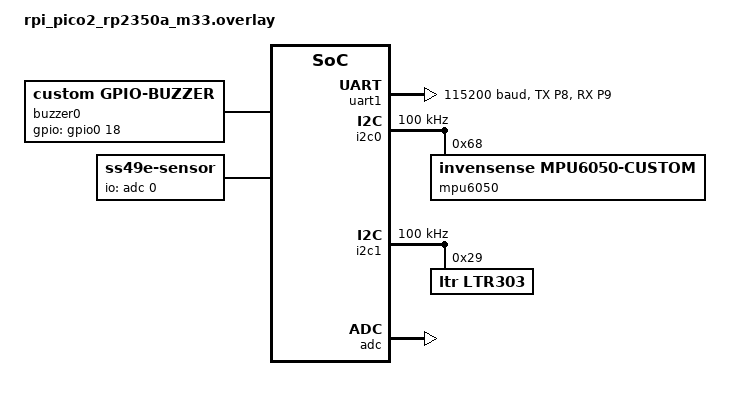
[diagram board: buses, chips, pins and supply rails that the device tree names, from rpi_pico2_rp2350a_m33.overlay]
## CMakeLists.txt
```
cmake_minimum_required(VERSION 3.20.0)

set(DTS_ROOT ${CMAKE_CURRENT_SOURCE_DIR}/..)

find_package(Zephyr REQUIRED HINTS $ENV{ZEPHYR_BASE})
project(sensor_node)

target_sources(app PRIVATE
    src/main.c
    ../drivers/sensor/ss49e/ss49e.c
    ../drivers/sensor/buzzer/buzzer.c
)

add_subdirectory(../drivers/sensor/mpu6050 mpu6050_driver)
add_subdirectory(../drivers/sensor/ltr303 ltr303_driver)

target_include_directories(app PRIVATE ${CMAKE_CURRENT_SOURCE_DIR}/../common)
```

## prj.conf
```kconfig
CONFIG_SERIAL=y
CONFIG_UART_INTERRUPT_DRIVEN=y

# Console via USB (printk output visible over USB serial)
CONFIG_USB_DEVICE_STACK=y
CONFIG_CONSOLE=y
CONFIG_UART_CONSOLE=y

#i2c
CONFIG_I2C=y

CONFIG_SENSOR=y

CONFIG_ADC=y
CONFIG_SENSOR=y

# Logging
CONFIG_LOG=y
CONFIG_LOG_DEFAULT_LEVEL=3

# Reboot support (used for CMD_RESET)
CONFIG_REBOOT=y

# Stack/heap tuning for RP2350
CONFIG_MAIN_STACK_SIZE=2048
CONFIG_HEAP_MEM_POOL_SIZE=2048

# GPIO status peripherals
CONFIG_GPIO=y
CONFIG_LED_STRIP=y
```

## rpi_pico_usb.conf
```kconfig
# USB CDC ACM console for the original RP2040 Pico / rpi_pico board.
CONFIG_USB_DEVICE_STACK=y
CONFIG_USB_CDC_ACM=y
CONFIG_UART_LINE_CTRL=y

CONFIG_SERIAL=y
CONFIG_CONSOLE=y
CONFIG_UART_CONSOLE=y
CONFIG_PRINTK=y
```

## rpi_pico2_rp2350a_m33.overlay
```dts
#include <zephyr/dt-bindings/led/led.h>
#include <zephyr/dt-bindings/pinctrl/rpi-pico-rp2350a-pinctrl.h>
#include <zephyr/dt-bindings/i2c/i2c.h>

&pinctrl {
    uart1_default: uart1_default {
        group1 {
            pinmux = <UART1_TX_P8>;
        };

        group2 {
            pinmux = <UART1_RX_P9>;
            input-enable;
        };
    };

    i2c0_default: i2c0_default {
        group1 {
            pinmux = <I2C0_SDA_P4>, <I2C0_SCL_P5>;
            input-enable;
            input-schmitt-enable;
        };
    };

   i2c1_default: i2c1_default {
        group1 {
            pinmux = <I2C1_SDA_P2>, <I2C1_SCL_P3>;
            input-enable;
            input-schmitt-enable;
        };
    };

    ws2812_pio0_default: ws2812_pio0_default {
        group1 {
            pinmux = <PIO0_P28>;
        };
    };
};

&uart1 {
    status = "okay";
    current-speed = <115200>;
    pinctrl-0 = <&uart1_default>;
    pinctrl-names = "default";
};

&i2c0 {
    status = "okay";
    clock-frequency = <I2C_BITRATE_STANDARD>;
    pinctrl-0 = <&i2c0_default>;
    pinctrl-names = "default";

    mpu6050: mpu6050@68 {
    compatible = "invensense,mpu6050-custom";
    reg = <0x68>;
    status = "okay";
    accel-range = <0>;
    gyro-range = <0>;
};
};

&i2c1 {
    status = "okay";
    clock-frequency = <I2C_BITRATE_STANDARD>;
    pinctrl-0 = <&i2c1_default>;
    pinctrl-names = "default";

    ltr303: ltr303@29 {
        compatible = "ltr,ltr303";
        reg = <0x29>;
        status = "okay";
    };
};

&pio0 {
    status = "okay";

    pio_ws2812: pio-ws2812 {
        compatible = "worldsemi,ws2812-rpi_pico-pio";
        status = "okay";
        pinctrl-0 = <&ws2812_pio0_default>;
        pinctrl-names = "default";
        bit-waveform = <3>, <3>, <4>;

        rgb_led: ws2812 {
            status = "okay";
            gpios = <&gpio0 28 GPIO_ACTIVE_HIGH>;
            chain-length = <1>;
            color-mapping = <LED_COLOR_ID_GREEN LED_COLOR_ID_RED LED_COLOR_ID_BLUE>;
            frequency = <800000>;
            reset-delay = <280>;
        };
    };
};

&adc {
    status = "okay";
};

/ {
    chosen {
        zephyr,led-strip = &rgb_led;
    };

    aliases {
        led-strip = &rgb_led;
        buzzer = &buzzer0;
    };

    buzzer0: buzzer_0 {
        compatible = "custom,gpio-buzzer";
        status = "okay";
        gpios = <&gpio0 18 GPIO_ACTIVE_HIGH>;
    };

    ss49e: ss49e {
        compatible = "zephyr,ss49e-sensor";
        io-channels = <&adc 0>;
        status = "okay";
    };
};
```

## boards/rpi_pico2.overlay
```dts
/*
 * sensor_node/boards/rpi_pico2.overlay
 *
 * Configures UART1 on RP2350 Pico 2 for communication with the base node.
 *
 * Pins:
 *   GP4 = TX  (connect to Base GP1/UART0-RX)
 *   GP5 = RX  (connect to Base GP0/UART0-TX)
 *
 * Baud rate: 115200
 */

&uart1 {
	status = "okay";
	current-speed = <115200>;
	pinctrl-0 = <&uart1_default>;
	pinctrl-names = "default";
};

&pinctrl {
	uart1_default: uart1_default {
		group1 {
			pinmux = <UART1_TX_P4>;   /* GP4 → TX */
		};
		group2 {
			pinmux = <UART1_RX_P5>;   /* GP5 → RX */
			input-enable;
		};
	};
};
```

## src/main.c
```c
/*
 * sensor_node/src/main.c
 *
 * Sensor node — Raspberry Pi Pico 2 (RP2350)
 * Listens on UART1 for commands from the base node and responds.
 * Simulates a temperature/humidity sensor (replace with real driver).
 *
 * Wiring (Base ↔ Sensor):
 *   Sensor GP8  (UART1 TX) → Base GP5  (UART1 RX)
 *   Sensor GP9  (UART1 RX) ← Base GP4  (UART1 TX)
 *   GND ↔ GND
 */

#include <stdlib.h>
#include <zephyr/kernel.h>
#include <zephyr/device.h>
#include <zephyr/drivers/uart.h>
#include <zephyr/sys/printk.h>
#include <zephyr/sys/reboot.h>
#include <string.h>
#include <limits.h>
#include "../../common/protocol.h"
#include <zephyr/drivers/sensor.h>
#include <zephyr/drivers/led_strip.h>
#include "../../drivers/sensor/buzzer/buzzer.h"

/* ── Config ────────────────────────────────────────────── */
#define COMMS_UART_NODE  DT_NODELABEL(uart1)
#define RGB_LED_NODE     DT_ALIAS(led_strip)
#define BUZZER_NODE      DT_ALIAS(buzzer)
static const struct device *mpu6050 = DEVICE_DT_GET(DT_NODELABEL(mpu6050));
static const struct device *ss49e = DEVICE_DT_GET(DT_NODELABEL(ss49e));
static const struct device *ltr303 = DEVICE_DT_GET(DT_NODELABEL(ltr303));
static const struct device *rgb_led = DEVICE_DT_GET(RGB_LED_NODE);
static const struct device *buzzer = DEVICE_DT_GET(BUZZER_NODE);

//Check the threshold level
#define LIGHT_THRESHOLD 100

/* ── Globals ───────────────────────────────────────────── */
static const struct device *comms_uart;

static bool sensor_read_light(uint16_t *visible);

static int16_t sensor_value_to_centi_i16(const struct sensor_value *v)
{
    int64_t centi = (int64_t)v->val1 * 100 + v->val2 / 10000;

    if (centi > INT16_MAX) {
        return INT16_MAX;
    }
    if (centi < INT16_MIN) {
        return INT16_MIN;
    }
    return (int16_t)centi;
}


/* ── Status output helpers ─────────────────────────────── */
static bool rgb_ready;
static bool buzzer_ready;

static void status_rgb_set(uint8_t r, uint8_t g, uint8_t b)
{
    if (!rgb_ready) {
        return;
    }

    struct led_rgb pixel = {
        .r = r,
        .g = g,
        .b = b,
    };

    int ret = led_strip_update_rgb(rgb_led, &pixel, 1);
    if (ret != 0) {
        printk("[SENSOR] RGB update failed: %d\n", ret);
    }
}

static void status_beep(uint32_t freq_hz, uint32_t duration_ms)
{
    if (!buzzer_ready) {
        return;
    }

    int ret = buzzer_beep(buzzer, freq_hz, duration_ms);
    if (ret != 0) {
        printk("[SENSOR] Buzzer beep failed: %d\n", ret);
    }
}

static void status_startup_ok(void)
{
    status_rgb_set(0, 40, 0);
    status_beep(2000, 80);
    k_sleep(K_MSEC(80));
    status_rgb_set(0, 0, 0);
}

static void status_command_seen(void)
{
    status_rgb_set(0, 0, 40);
    //status_beep(2500, 20);
    k_sleep(K_MSEC(40));
    status_rgb_set(0, 0, 0);
}

static void status_read_ok(void)
{
    status_rgb_set(0, 40, 0);
    k_sleep(K_MSEC(40));
    status_rgb_set(0, 0, 0);
}

static void status_error(void)
{
    status_rgb_set(40, 0, 0);
    status_beep(1000, 60);
    k_sleep(K_MSEC(60));
    status_rgb_set(0, 0, 0);
}

static void status_alarm(uint32_t duration_ms)
{
    int64_t end = k_uptime_get() + duration_ms;

    printk("[SENSOR] ALARM for %u ms\n", duration_ms);

    while (k_uptime_get() < end) {
        status_rgb_set(60, 0, 0);
        status_beep(2500, 120);
        k_sleep(K_MSEC(120));
        status_rgb_set(0, 0, 0);
        status_beep(1400, 120);
        k_sleep(K_MSEC(120));
    }

    status_rgb_set(0, 0, 0);
}

/* Raw RX ring buffer */
#define RX_BUF_SIZE  64
static uint8_t rx_buf[RX_BUF_SIZE];
static volatile size_t rx_head = 0;
static volatile size_t rx_tail = 0;

/* ── UART ISR callback ─────────────────────────────────── */
static void uart_cb(const struct device *dev, void *user_data)
{
    ARG_UNUSED(user_data);

    if (!uart_irq_update(dev)) return;

    while (uart_irq_rx_ready(dev)) {
        uint8_t c;
        int n = uart_fifo_read(dev, &c, 1);
        if (n > 0) {
            size_t next = (rx_head + 1) % RX_BUF_SIZE;
            if (next != rx_tail) {   /* drop if full */
                rx_buf[rx_head] = c;
                rx_head = next;
            }
        }
    }
}

static bool rx_byte_available(void) { return rx_head != rx_tail; }

static uint8_t rx_get_byte(void)
{
    uint8_t c = rx_buf[rx_tail];
    rx_tail = (rx_tail + 1) % RX_BUF_SIZE;
    return c;
}


static void uart_send_bytes(const uint8_t *buf, size_t len)
{
    for (size_t i = 0; i < len; i++) {
        uart_poll_out(comms_uart, buf[i]);
    }
}


/* ── Response helpers ──────────────────────────────────── */

static void send_ack(void)
{
    proto_frame_t f = { .stx = PROTO_STX, .cmd = RSP_ACK, .len = 0 };
    uint8_t buf[4];
    size_t n = proto_encode(&f, buf, sizeof(buf));
    uart_send_bytes(buf, n);
}

static void send_nack(void)
{
    proto_frame_t f = { .stx = PROTO_STX, .cmd = RSP_NACK, .len = 0 };
    uint8_t buf[4];
    size_t n = proto_encode(&f, buf, sizeof(buf));
    uart_send_bytes(buf, n);
}

static void send_error(proto_err_t err)
{
    status_error();
    proto_frame_t f = {
        .stx = PROTO_STX, .cmd = RSP_ERROR,
        .len = 1, .payload = { (uint8_t)err }
    };
    uint8_t buf[5];
    size_t n = proto_encode(&f, buf, sizeof(buf));
    uart_send_bytes(buf, n);
}


static void send_all(void)
{
    uint16_t visible;

    if (!sensor_read_light(&visible)) {
        send_error(ERR_SENSOR_FAULT);
        return;
    }

    struct sensor_value accel[3];
    struct sensor_value gyro[3];

    int ret = sensor_sample_fetch(mpu6050);
    if (ret != 0) {
        printk("[SENSOR] MPU fetch failed: %d\n", ret);
        send_error(ERR_SENSOR_FAULT);
        return;
    }

    ret = sensor_channel_get(mpu6050, SENSOR_CHAN_ACCEL_XYZ, accel);
    if (ret != 0) {
        printk("[SENSOR] MPU accel channel get failed: %d\n", ret);
        send_error(ERR_SENSOR_FAULT);
        return;
    }

    ret = sensor_channel_get(mpu6050, SENSOR_CHAN_GYRO_XYZ, gyro);
    if (ret != 0) {
        printk("[SENSOR] MPU gyro channel get failed: %d\n", ret);
        send_error(ERR_SENSOR_FAULT);
        return;
    }

    struct sensor_value hall;

    ret = sensor_sample_fetch(ss49e);
    if (ret != 0) {
        printk("[SENSOR] SS49E fetch failed: %d\n", ret);
        send_error(ERR_SENSOR_FAULT);
        return;
    }

    ret = sensor_channel_get(ss49e, SENSOR_CHAN_MAGN_X, &hall);
    if (ret != 0) {
        printk("[SENSOR] SS49E channel get failed: %d\n", ret);
        send_error(ERR_SENSOR_FAULT);
        return;
    }
    printk("[SENSOR] accel raw x=%d.%06d y=%d.%06d z=%d.%06d\n",
       accel[0].val1, accel[0].val2,
       accel[1].val1, accel[1].val2,
       accel[2].val1, accel[2].val2);

    int16_t ax = sensor_value_to_centi_i16(&accel[0]);
    int16_t ay = sensor_value_to_centi_i16(&accel[1]);
    int16_t az = sensor_value_to_centi_i16(&accel[2]);
    int16_t gx = sensor_value_to_centi_i16(&gyro[0]);
    int16_t gy = sensor_value_to_centi_i16(&gyro[1]);
    int16_t gz = sensor_value_to_centi_i16(&gyro[2]);
    int16_t hall_value = (int16_t)hall.val1;

    proto_frame_t f = {
        .stx = PROTO_STX,
        .cmd = RSP_ALL,
        .len = 16,
        .payload = {
            (uint8_t)(visible >> 8), (uint8_t)(visible & 0xFF),
            (uint8_t)(ax >> 8),      (uint8_t)(ax & 0xFF),
            (uint8_t)(ay >> 8),      (uint8_t)(ay & 0xFF),
            (uint8_t)(az >> 8),      (uint8_t)(az & 0xFF),
            (uint8_t)(gx >> 8),      (uint8_t)(gx & 0xFF),
            (uint8_t)(gy >> 8),      (uint8_t)(gy & 0xFF),
            (uint8_t)(gz >> 8),      (uint8_t)(gz & 0xFF),
            (uint8_t)(hall_value >> 8), (uint8_t)(hall_value & 0xFF)
        }
    };

    uint8_t buf[20];
    size_t n = proto_encode(&f, buf, sizeof(buf));
    uart_send_bytes(buf, n);

    printk("[SENSOR] raw light=%u acc=(%d,%d,%d) gyro=(%d,%d,%d) hall=%d\n",
           visible, ax, ay, az, gx, gy, gz, hall_value);

    status_read_ok();
}


/* ── Frame receiver state machine ──────────────────────── */
typedef enum {
    RX_STATE_IDLE,
    RX_STATE_CMD,
    RX_STATE_LEN,
    RX_STATE_PAYLOAD,
    RX_STATE_CRC,
} rx_state_t;

static void process_rx(void)
{
    static rx_state_t  state   = RX_STATE_IDLE;
    static proto_frame_t frame;
    static uint8_t     pay_idx = 0;

    while (rx_byte_available()) {
        uint8_t c = rx_get_byte();

        switch (state) {
        case RX_STATE_IDLE:
            if (c == PROTO_STX) {
                frame.stx = c;
                state = RX_STATE_CMD;
            }
            break;

        case RX_STATE_CMD:
            frame.cmd = c;
            state = RX_STATE_LEN;
            break;

        case RX_STATE_LEN:
            if (c > PROTO_MAX_PAYLOAD) {
                /* Invalid length — reset */
                state = RX_STATE_IDLE;
                break;
            }
            frame.len = c;
            pay_idx   = 0;
            state     = (c > 0) ? RX_STATE_PAYLOAD : RX_STATE_CRC;
            break;

        case RX_STATE_PAYLOAD:
            frame.payload[pay_idx++] = c;
            if (pay_idx >= frame.len) {
                state = RX_STATE_CRC;
            }
            break;

        case RX_STATE_CRC:
            frame.crc = c;
            state = RX_STATE_IDLE;

            /* Validate CRC */
            if (frame.crc != proto_frame_crc(&frame)) {
                printk("[SENSOR] Bad CRC — dropping frame\n");
                send_error(ERR_BAD_CRC);
                break;
            }

            /* Dispatch command */
            printk("[SENSOR] CMD 0x%02X\n", frame.cmd);
            status_command_seen();
            switch ((proto_cmd_t)frame.cmd) {
            case CMD_PING:
                send_ack();
                break;
            case CMD_READ_ALL:
                send_all();
                break;
            case CMD_SOUND_ALARM: {
                uint16_t duration_ms = 1000;
                if (frame.len >= 2) {
                    duration_ms = ((uint16_t)frame.payload[0] << 8) | frame.payload[1];
                }
                send_ack();
                status_alarm(duration_ms);
                break;
            }
            case CMD_RESET:
                printk("[SENSOR] Resetting...\n");
                k_sleep(K_MSEC(10));
                sys_reboot(SYS_REBOOT_COLD);
                break;
            default:
                printk("[SENSOR] Unknown cmd 0x%02X\n", frame.cmd);
                send_error(ERR_UNKNOWN_CMD);
                break;
            }
            break;
        }
    }
}

static bool sensor_read_light(uint16_t *visible)
{
    struct sensor_value light;
    int ret;

    if (!device_is_ready(ltr303)) {
        printk("[SENSOR] LTR303 not ready\n");
        return false;
    }

    ret = sensor_sample_fetch(ltr303);
    if (ret != 0) {
        printk("[SENSOR] LTR303 fetch failed: %d\n", ret);
        return false;
    }

    ret = sensor_channel_get(ltr303, SENSOR_CHAN_LIGHT, &light);
    if (ret != 0) {
        printk("[SENSOR] LTR303 channel get failed: %d\n", ret);
        return false;
    }

    *visible = (uint16_t)light.val1;
    return true;
}


/* ── Entry point ───────────────────────────────────────── */

int main(void)
{
    printk("=== Sensor Node (RP2350) starting ===\n");

    comms_uart = DEVICE_DT_GET(COMMS_UART_NODE);

    if (!device_is_ready(comms_uart)) {
        printk("[SENSOR] UART not ready!\n");
        return -1;
    }

    rgb_ready = device_is_ready(rgb_led);
    if (!rgb_ready) {
        printk("[SENSOR] RGB LED not ready\n");
    } else {
        printk("[SENSOR] RGB LED ready\n");
        status_rgb_set(0, 0, 0);
    }

    buzzer_ready = device_is_ready(buzzer);
    if (!buzzer_ready) {
        printk("[SENSOR] Buzzer not ready\n");
    } else {
        printk("[SENSOR] Buzzer ready\n");
    }

    status_startup_ok();

    /* Enable interrupt-driven RX */
    uart_irq_callback_set(comms_uart, uart_cb);
    uart_irq_rx_enable(comms_uart);

    if (!device_is_ready(ltr303)) {
        printk("[SENSOR] LTR303 not ready\n");
    } else {
        printk("[SENSOR] LTR303 ready\n");
    }

    if (!device_is_ready(mpu6050)) {
    printk("[SENSOR] MPU6050 not ready\n");
    } else {
    printk("[SENSOR] MPU6050 ready\n");
    }

    if (!device_is_ready(ss49e)) {
        printk("[SENSOR] SS49E not ready\n");
    } else {
        printk("[SENSOR] SS49E ready\n");
    }

    printk("[SENSOR] Listening for commands...\n");

    while (1) {
        process_rx();
        k_sleep(K_USEC(500));
    }

    return 0;
}
```
